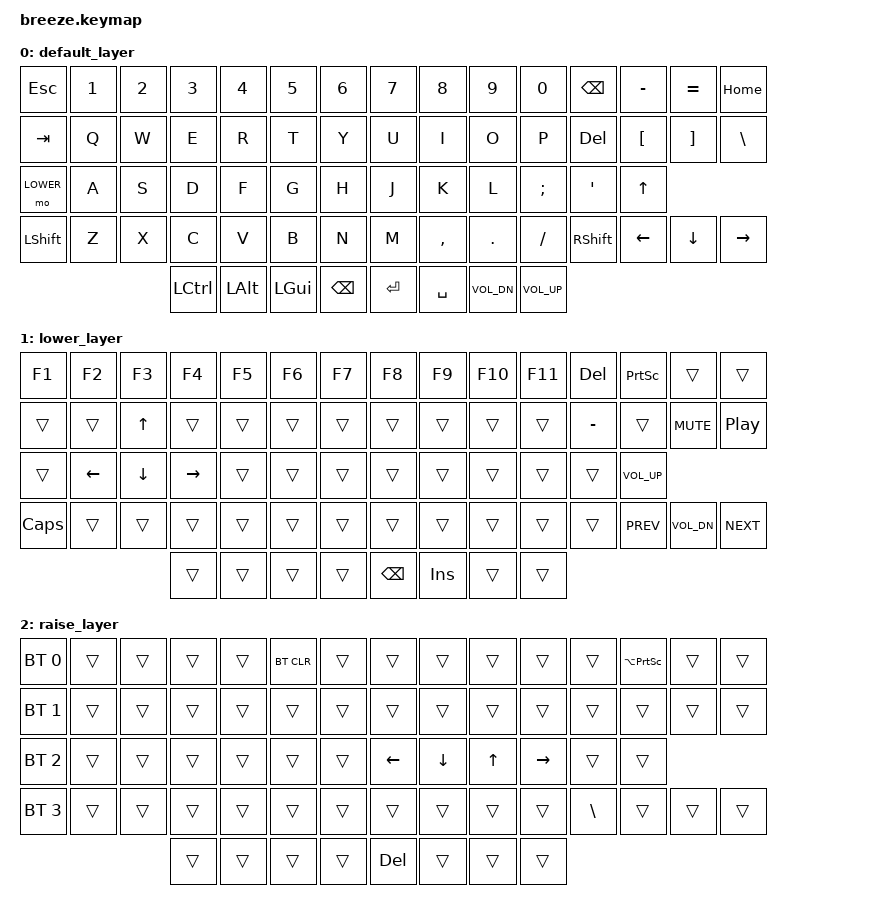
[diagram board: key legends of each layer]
/*
 * Copyright (c) 2022 The ZMK Contributors
 *
 * SPDX-License-Identifier: MIT
 */

#include <behaviors.dtsi>
#include <dt-bindings/zmk/keys.h>
#include <dt-bindings/zmk/bt.h>
#include <dt-bindings/zmk/ext_power.h>

#define DEFAULT 0
#define LOWER 1

/ {
	keymap {
		compatible = "zmk,keymap";

		default_layer {

// Ref: https://zmkfirmware.dev/docs/codes/

// ----------------------------------------------------------------------------------------------------------------------------------
// |   ESC   |  1  |  2  |  3   |  4   |  5   |                   |  6   |  7    |  8    |  9   |   0   | BSPC | | -/_ | =/+  | HOME |
// |  TAB  |  Q  |  W  |  E   |  R   |  T   |                   |  Y   |  U    |  I    |  O   |   P   |  +   | |  [  | ]  |  BSLH  |
// | mo |  A  |  S  |  D   |  F   |  G   |                   |  H   |  J    |  K    |  L   |   ;   |  '   | |     |  UP  |      |
// |  SHIFT |  Z  |  X  |  C   |  V   |  B   |                   |  N   |  M    |  ,    |  .   |   /   |  SHIFT   | |  L  |  DN  |  R   |
//                     | ESC  | GUI  | ALT  | SPACE |   | ENTER | RALT | RAISE | LOWER |
			bindings = <
&kp ESC &kp N1 &kp N2 &kp N3  &kp N4   &kp N5                     &kp N6   &kp N7   &kp N8    &kp N9  &kp N0   &kp BSPC   &kp MINUS &kp EQUAL &kp HOME
&kp TAB   &kp Q  &kp W  &kp E   &kp R    &kp T                      &kp Y    &kp U    &kp I     &kp O   &kp P    &kp DEL   &kp LBKT  &kp RBKT   &kp BSLH
&mo LOWER &kp A  &kp S  &kp D   &kp F    &kp G                      &kp H    &kp J    &kp K     &kp L   &kp SEMI &kp APOS             &kp UP 
&kp LSHFT &kp Z  &kp X  &kp C   &kp V    &kp B                      &kp N    &kp M    &kp COMMA &kp DOT &kp FSLH &kp RSHIFT   &kp LEFT  &kp DOWN  &kp RIGHT
                        &kp LCTRL &kp LALT &kp LGUI &kp BSPC &kp RET &kp SPACE &kp C_VOL_DN    &kp C_VOL_UP
			>;
		};

		lower_layer {
// ---------------------------------------------------------------------------------------------------------------------------------- 
// |  F1  |  F2 |  F3 |  F4  |  F5  |  F6  |                   |  F7  |  F8  |  F9  |  F10 |  F11  |  DEL  | | PSCRN |      |      | 
// |      |     |  ↑  |      |      |      |                   |      |      |      |      |       |   -    | |       | Mute | Play | 
// | CAPS |  ←  |  ↓  |  →   |      |      |                   |      |      |      |      |       |       | |       | Vol+ |      | 
// |      |     |     |      |      |      |                   |      |      |      |      |       |       | | Prev  | Vol- | Next | 
//                    |      |      |      |        |  |  BSPC | INS  |      |      |
			bindings = <
&kp F1   &kp F2  &kp F3  &kp F4  &kp F5  &kp F6                       &kp F7  &kp F8  &kp F9  &kp F10 &kp F11 &kp DEL &kp PSCRN  &trans        &trans    
&trans   &trans  &kp UP  &trans  &trans  &trans                       &trans  &trans  &trans  &trans  &trans  &kp MINUS  &trans     &kp C_MUTE    &kp C_PLAY_PAUSE 
&trans &kp LEFT &kp DOWN &kp RIGHT  &trans  &trans                       &trans  &trans  &trans  &trans  &trans  &trans             &kp C_VOL_UP
&kp CAPS   &trans  &trans  &trans  &trans  &trans                       &trans  &trans  &trans  &trans  &trans  &trans  &kp C_PREV &kp C_VOL_DN  &kp C_NEXT
                         &trans  &trans  &trans  &trans     &kp BSPC  &kp INS &trans  &trans
			>;
		};

		raise_layer {
// ---------------------------------------------------------------------------------------------------------------------------------- 
// | BT1 |     |     |      |      | BT_CLR |                   |      |       |       |      |       |       | | LA PSCRN |      |      | 
// | BT2 |     |     |      |      |        |                   |      |       |       |      |       |       | |     |      |      | 
// | BT3 |     |     |      |      |        |                   |      |   <-  |   ↓   |  ↑   |  →   |       | |     |      |      | 
// | BT4 |     |     |      |      |        |                   |      |       |       |      |       |   \   | |     |      |      | 
//                   |      |      |        |        |  |  DEL  |      |       |       |
			bindings = <
&bt BT_SEL 0 &trans &trans &trans  &trans  &bt BT_CLR                   &trans  &trans   &trans   &trans  &trans    &trans     &kp LA(PSCRN) &trans &trans 
&bt BT_SEL 1 &trans &trans &trans  &trans  &trans                       &trans  &trans   &trans   &trans  &trans    &trans     &trans &trans &trans
&bt BT_SEL 2 &trans &trans &trans  &trans  &trans                       &trans  &kp LEFT &kp DOWN &kp UP  &kp RIGHT &trans            &trans        
&bt BT_SEL 3 &trans &trans &trans  &trans  &trans                       &trans  &trans   &trans   &trans  &trans    &kp BSLH   &trans &trans &trans 
                           &trans  &trans  &trans    &trans    &kp DEL  &trans  &trans   &trans
			>;
		};
	};
};
